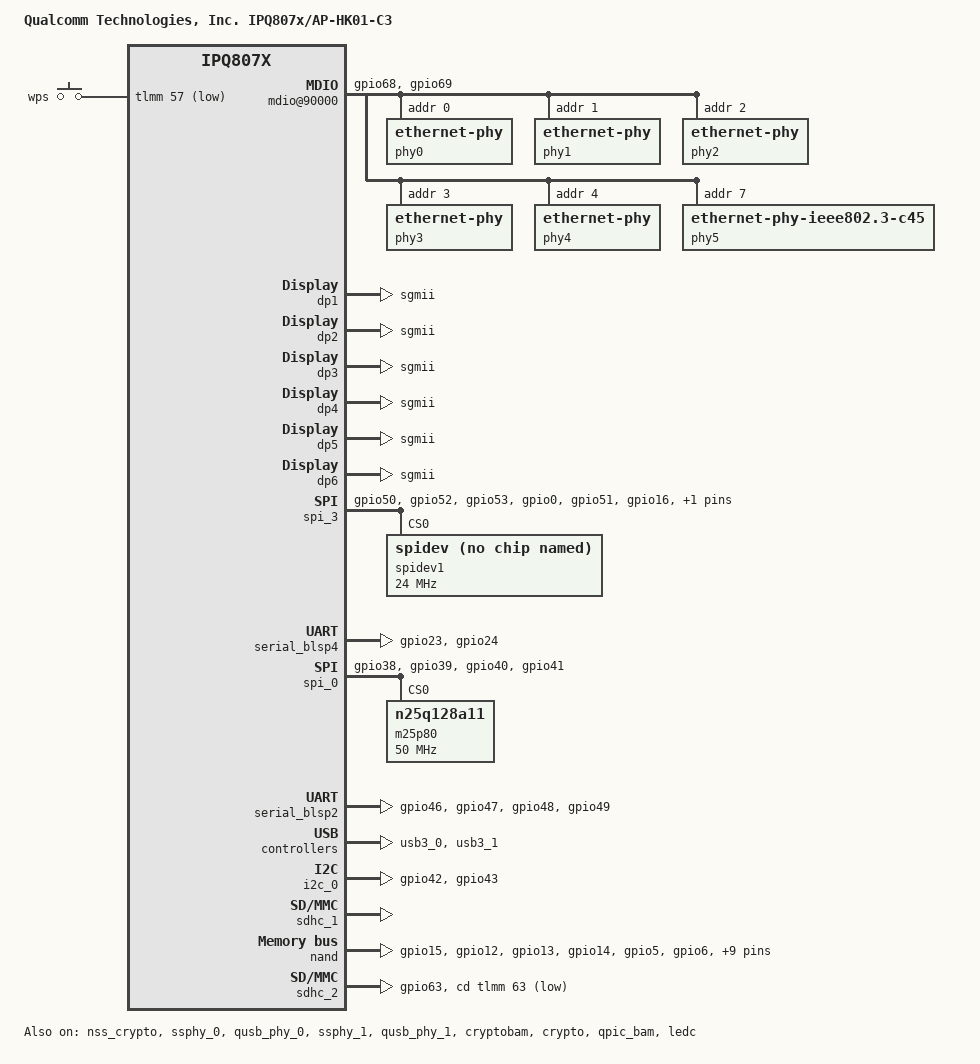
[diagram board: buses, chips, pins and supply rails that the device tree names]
/dts-v1/;
/*
 * Copyright (c) 2017-2018, The Linux Foundation. All rights reserved.
 *
 * Permission to use, copy, modify, and/or distribute this software for any
 * purpose with or without fee is hereby granted, provided that the above
 * copyright notice and this permission notice appear in all copies.
 *
 * THE SOFTWARE IS PROVIDED "AS IS" AND THE AUTHOR DISCLAIMS ALL WARRANTIES
 * WITH REGARD TO THIS SOFTWARE INCLUDING ALL IMPLIED WARRANTIES OF
 * MERCHANTABILITY AND FITNESS. IN NO EVENT SHALL THE AUTHOR BE LIABLE FOR
 * ANY SPECIAL, DIRECT, INDIRECT, OR CONSEQUENTIAL DAMAGES OR ANY DAMAGES
 * WHATSOEVER RESULTING FROM LOSS OF USE, DATA OR PROFITS, WHETHER IN AN
 * ACTION OF CONTRACT, NEGLIGENCE OR OTHER TORTIOUS ACTION, ARISING OUT OF
 * OR IN CONNECTION WITH THE USE OR PERFORMANCE OF THIS SOFTWARE.
 */
#include "qcom-ipq807x-soc.dtsi"
#include "qcom-ipq807x-audio.dtsi"
#include "qcom-ipq807x-hk-cpu.dtsi"

/ {
	#address-cells = <0x2>;
	#size-cells = <0x2>;
	model = "Qualcomm Technologies, Inc. IPQ807x/AP-HK01-C3";
	compatible = "qcom,ipq807x-hk01", "qcom,ipq807x";
	qcom,msm-id = <0x125 0x0>;
	interrupt-parent = <&intc>;
	qcom,board-id = <0x10 0x0>;

	aliases {
		sdhc1 = &sdhc_1; /* SDC1 eMMC slot */
		sdhc2 = &sdhc_2; /* SDC2 SD slot */
		/*
		 * Aliases as required by u-boot
		 * to patch MAC addresses
		 */
		ethernet0 = "/soc/dp1";
		ethernet1 = "/soc/dp2";
		ethernet2 = "/soc/dp3";
		ethernet3 = "/soc/dp4";
		ethernet4 = "/soc/dp5";
		ethernet5 = "/soc/dp6";
	};

	chosen {
		bootargs = "console=ttyMSM0,115200,n8 root=/dev/ram0 rw init=/init";
		bootargs-append = " swiotlb=1";
	};
};

&tlmm {
	pinctrl-0 = <&btcoex_pins>;
	pinctrl-names = "default";

	btcoex_pins: btcoex_pins {
		mux_0 {
			pins = "gpio64";
			function = "pta1_1";
			drive-strength = <6>;
			bias-pull-down;
		};
		mux_1 {
			pins = "gpio65";
			function = "pta1_2";
			drive-strength = <6>;
			bias-pull-down;
		};
		mux_2 {
			pins = "gpio66";
			function = "pta1_0";
			drive-strength = <6>;
			bias-pull-down;
		};
		mux_3 {
			pins = "gpio54";
			function = "pta2_0";
			drive-strength = <6>;
			bias-pull-down;
		};
		mux_4 {
			pins = "gpio55";
			function = "pta2_1";
			drive-strength = <6>;
			bias-pull-down;
		};
		mux_5 {
			pins = "gpio56";
			function = "pta2_2";
			drive-strength = <6>;
			bias-pull-down;
		};
	};

	mdio_pins: mdio_pinmux {
		mux_0 {
			pins = "gpio68";
			function = "mdc";
			drive-strength = <8>;
			bias-pull-up;
		};
		mux_1 {
			pins = "gpio69";
			function = "mdio";
			drive-strength = <8>;
			bias-pull-up;
		};
	};

	uart_pins: uart_pins {
		mux {
			pins = "gpio23", "gpio24";
			function = "blsp4_uart1";
			drive-strength = <8>;
			bias-disable;
		};
	};

	i2c_0_pins: i2c_0_pinmux {
		mux {
			pins = "gpio42", "gpio43";
			function = "blsp1_i2c";
			drive-strength = <8>;
			bias-disable;
		};
	};

	spi_0_pins: spi_0_pins {
		mux {
			pins = "gpio38", "gpio39", "gpio40", "gpio41";
			function = "blsp0_spi";
			drive-strength = <8>;
			bias-disable;
		};
	};

	spi_3_pins: spi_3_pinmux {
		mux {
			pins = "gpio50", "gpio52", "gpio53";
			function = "blsp3_spi";
			bias-disable;
		};
		host_int {
			pins = "gpio0";
			function = "gpio";
			input;
		};
		cs {
			pins = "gpio51";
			function = "gpio";
			bias-pull-up;
		};
		wake {
			pins = "gpio16";
			function = "gpio";
			output-high;
		};
		reset {
			pins = "gpio2";
			function = "gpio";
			output-high;
		};
	};

	qpic_pins: qpic_pins {
		data_0 {
			pins = "gpio15";
			function = "qpic_pad0";
			drive-strength = <8>;
			bias-disable;
		};
		data_1 {
			pins = "gpio12";
			function = "qpic_pad1";
			drive-strength = <8>;
			bias-disable;
		};
		data_2 {
			pins = "gpio13";
			function = "qpic_pad2";
			drive-strength = <8>;
			bias-disable;
		};
		data_3 {
			pins = "gpio14";
			function = "qpic_pad3";
			drive-strength = <8>;
			bias-disable;
		};
		data_4 {
			pins = "gpio5";
			function = "qpic_pad4";
			drive-strength = <8>;
			bias-disable;
		};
		data_5 {
			pins = "gpio6";
			function = "qpic_pad5";
			drive-strength = <8>;
			bias-disable;
		};
		data_6 {
			pins = "gpio7";
			function = "qpic_pad6";
			drive-strength = <8>;
			bias-disable;
		};
		data_7 {
			pins = "gpio8";
			function = "qpic_pad7";
			drive-strength = <8>;
			bias-disable;
		};
		qpic_pad {
			pins = "gpio1","gpio3", "gpio4",
				"gpio9", "gpio10", "gpio11", "gpio17";
			function = "qpic_pad";
			drive-strength = <8>;
			bias-disable;
		};
	};

	sd_pins: sd_pins {
		mux {
			pins = "gpio63";
			function = "sd_card";
			drive-strength = <8>;
			bias-pull-up;
		};
	};

	hsuart_pins: hsuart_pins {
		mux {
			pins = "gpio46", "gpio47", "gpio48", "gpio49";
			function = "blsp2_uart";
			drive-strength = <8>;
			bias-disable;
		};
	};

	ledc_pins: ledc_pinmux {
		led_clk {
			pins = "gpio18";
			function = "led0";
			drive-strength = <8>;
			bias-pull-down;
		};
		led_data {
			pins = "gpio19";
			function = "led1";
			drive-strength = <8>;
			bias-pull-down;
		};
		led_clr {
			pins = "gpio20";
			function = "led2";
			drive-strength = <8>;
			bias-pull-up;
		};
	};

	button_pins: button_pins {
		wps_button {
			pins = "gpio57";
			function = "gpio";
			drive-strength = <8>;
			bias-pull-up;
		};
	};

	uniphy_pins: uniphy_pinmux {
		mux {
			pins = "gpio60";
			function = "rx2";
			bias-disable;
		};

		sfp_tx {
			pins = "gpio59";
			function = "gpio";
			drive-strength = <8>;
			bias-pull-down;
			output-low;
		};
	};

	pwm_pins: pwm_pinmux {
		mux_1 {
			pins = "gpio25";
			function = "pwm02";
			drive-strength = <8>;
		};
	};
};

&soc {
	pwm {
		pinctrl-0 = <&pwm_pins>;
		pinctrl-names = "default";
		used-pwm-indices = <1>, <0>, <0>, <0>;
		status = "disabled";
	};

	gpio_keys {
		compatible = "gpio-keys";
		pinctrl-0 = <&button_pins>;
		pinctrl-names = "default";

		button@1 {
			label = "wps";
			linux,code = <KEY_WPS_BUTTON>;
			gpios = <&tlmm 57 GPIO_ACTIVE_LOW>;
			linux,input-type = <1>;
			debounce-interval = <60>;
		};
	};

	mdio@90000 {
		pinctrl-0 = <&mdio_pins>;
		pinctrl-names = "default";
		phy-reset-gpio = <&tlmm 37 0>;
		phy0: ethernet-phy@0 {
			reg = <0>;
		};
		phy1: ethernet-phy@1 {
			reg = <1>;
		};
		phy2: ethernet-phy@2 {
			reg = <2>;
		};
		phy3: ethernet-phy@3 {
			reg = <3>;
		};
		phy4: ethernet-phy@4 {
			reg = <4>;
		};
		phy5: ethernet-phy@5 {
			compatible ="ethernet-phy-ieee802.3-c45";
			reg = <7>;
		};
	};

	ess-switch@3a000000 {
		pinctrl-0 = <&uniphy_pins>;
		pinctrl-names = "default";
		switch_cpu_bmp = <0x1>;  /* cpu port bitmap */
		switch_lan_bmp = <0x3e>; /* lan port bitmap */
		switch_wan_bmp = <0x40>; /* wan port bitmap */
		switch_mac_mode = <0x0>; /* mac mode for uniphy instance0*/
		switch_mac_mode1 = <0xff>; /* mac mode for uniphy instance1*/
		switch_mac_mode2 = <0xd>; /* mac mode for uniphy instance2*/
		bm_tick_mode = <0>; /* bm tick mode */
		tm_tick_mode = <0>; /* tm tick mode */
		port_scheduler_resource {
			port@0 {
				port_id = <0>;
				ucast_queue = <0 143>;
				mcast_queue = <256 271>;
				l0sp = <0 35>;
				l0cdrr = <0 47>;
				l0edrr = <0 47>;
				l1cdrr = <0 7>;
				l1edrr = <0 7>;
			};
			port@1 {
				port_id = <1>;
				ucast_queue = <144 159>;
				mcast_queue = <272 275>;
				l0sp = <36 39>;
				l0cdrr = <48 63>;
				l0edrr = <48 63>;
				l1cdrr = <8 11>;
				l1edrr = <8 11>;
			};
			port@2 {
				port_id = <2>;
				ucast_queue = <160 175>;
				mcast_queue = <276 279>;
				l0sp = <40 43>;
				l0cdrr = <64 79>;
				l0edrr = <64 79>;
				l1cdrr = <12 15>;
				l1edrr = <12 15>;
			};
			port@3 {
				port_id = <3>;
				ucast_queue = <176 191>;
				mcast_queue = <280 283>;
				l0sp = <44 47>;
				l0cdrr = <80 95>;
				l0edrr = <80 95>;
				l1cdrr = <16 19>;
				l1edrr = <16 19>;
			};
			port@4 {
				port_id = <4>;
				ucast_queue = <192 207>;
				mcast_queue = <284 287>;
				l0sp = <48 51>;
				l0cdrr = <96 111>;
				l0edrr = <96 111>;
				l1cdrr = <20 23>;
				l1edrr = <20 23>;
			};
			port@5 {
				port_id = <5>;
				ucast_queue = <208 223>;
				mcast_queue = <288 291>;
				l0sp = <52 55>;
				l0cdrr = <112 127>;
				l0edrr = <112 127>;
				l1cdrr = <24 27>;
				l1edrr = <24 27>;
			};
			port@6 {
				port_id = <6>;
				ucast_queue = <224 239>;
				mcast_queue = <292 295>;
				l0sp = <56 59>;
				l0cdrr = <128 143>;
				l0edrr = <128 143>;
				l1cdrr = <28 31>;
				l1edrr = <28 31>;
			};
			port@7 {
				port_id = <7>;
				ucast_queue = <240 255>;
				mcast_queue = <296 299>;
				l0sp = <60 63>;
				l0cdrr = <144 159>;
				l0edrr = <144 159>;
				l1cdrr = <32 35>;
				l1edrr = <32 35>;
			};
		};
		port_scheduler_config {
			port@0 {
				port_id = <0>;
				l1scheduler {
					group@0 {
						sp = <0 1>; /*L0 SPs*/
						/*cpri cdrr epri edrr*/
						cfg = <0 0 0 0>;
					};
				};
				l0scheduler {
					group@0 {
						/*unicast queues*/
						ucast_queue = <0 4 8>;
						/*multicast queues*/
						mcast_queue = <256 260>;
						/*sp cpri cdrr epri edrr*/
						cfg = <0 0 0 0 0>;
					};
					group@1 {
						ucast_queue = <1 5 9>;
						mcast_queue = <257 261>;
						cfg = <0 1 1 1 1>;
					};
					group@2 {
						ucast_queue = <2 6 10>;
						mcast_queue = <258 262>;
						cfg = <0 2 2 2 2>;
					};
					group@3 {
						ucast_queue = <3 7 11>;
						mcast_queue = <259 263>;
						cfg = <0 3 3 3 3>;
					};
				};
			};
			port@1 {
				port_id = <1>;
				l1scheduler {
					group@0 {
						sp = <36>;
						cfg = <0 8 0 8>;
					};
					group@1 {
						sp = <37>;
						cfg = <1 9 1 9>;
					};
				};
				l0scheduler {
					group@0 {
						ucast_queue = <144>;
						ucast_loop_pri = <16>;
						mcast_queue = <272>;
						mcast_loop_pri = <4>;
						cfg = <36 0 48 0 48>;
					};
				};
			};
			port@2 {
				port_id = <2>;
				l1scheduler {
					group@0 {
						sp = <40>;
						cfg = <0 12 0 12>;
					};
					group@1 {
						sp = <41>;
						cfg = <1 13 1 13>;
					};
				};
				l0scheduler {
					group@0 {
						ucast_queue = <160>;
						ucast_loop_pri = <16>;
						mcast_queue = <276>;
						mcast_loop_pri = <4>;
						cfg = <40 0 64 0 64>;
					};
				};
			};
			port@3 {
				port_id = <3>;
				l1scheduler {
					group@0 {
						sp = <44>;
						cfg = <0 16 0 16>;
					};
					group@1 {
						sp = <45>;
						cfg = <1 17 1 17>;
					};
				};
				l0scheduler {
					group@0 {
						ucast_queue = <176>;
						ucast_loop_pri = <16>;
						mcast_queue = <280>;
						mcast_loop_pri = <4>;
						cfg = <44 0 80 0 80>;
					};
				};
			};
			port@4 {
				port_id = <4>;
				l1scheduler {
					group@0 {
						sp = <48>;
						cfg = <0 20 0 20>;
					};
					group@1 {
						sp = <49>;
						cfg = <1 21 1 21>;
					};
				};
				l0scheduler {
					group@0 {
						ucast_queue = <192>;
						ucast_loop_pri = <16>;
						mcast_queue = <284>;
						mcast_loop_pri = <4>;
						cfg = <48 0 96 0 96>;
					};
				};
			};
			port@5 {
				port_id = <5>;
				l1scheduler {
					group@0 {
						sp = <52>;
						cfg = <0 24 0 24>;
					};
					group@1 {
						sp = <53>;
						cfg = <1 25 1 25>;
					};
				};
				l0scheduler {
					group@0 {
						ucast_queue = <208>;
						ucast_loop_pri = <16>;
						mcast_queue = <288>;
						mcast_loop_pri = <4>;
						cfg = <52 0 112 0 112>;
					};
				};
			};
			port@6 {
				port_id = <6>;
				l1scheduler {
					group@0 {
						sp = <56>;
						cfg = <0 28 0 28>;
					};
					group@1 {
						sp = <57>;
						cfg = <1 29 1 29>;
					};
				};
				l0scheduler {
					group@0 {
						ucast_queue = <224>;
						ucast_loop_pri = <16>;
						mcast_queue = <292>;
						mcast_loop_pri = <4>;
						cfg = <56 0 128 0 128>;
					};
				};
			};
			port@7 {
				port_id = <7>;
				l1scheduler {
					group@0 {
						sp = <60>;
						cfg = <0 32 0 32>;
					};
				};
				l0scheduler {
					group@0 {
						ucast_queue = <240>;
						mcast_queue = <296>;
						cfg = <60 0 144 0 144>;
					};
				};
			};
		};
	};

	dp1 {
		device_type = "network";
		compatible = "qcom,nss-dp";
		qcom,id = <1>;
		reg = <0x3a001000 0x200>;
		qcom,mactype = <0>;
		local-mac-address = [000000000000];
		qcom,link-poll = <1>;
		qcom,phy-mdio-addr = <0>;
		phy-mode = "sgmii";
	};

	dp2 {
		device_type = "network";
		compatible = "qcom,nss-dp";
		qcom,id = <2>;
		reg = <0x3a001200 0x200>;
		qcom,mactype = <0>;
		local-mac-address = [000000000000];
		qcom,link-poll = <1>;
		qcom,phy-mdio-addr = <1>;
		phy-mode = "sgmii";
	};

	dp3 {
		device_type = "network";
		compatible = "qcom,nss-dp";
		qcom,id = <3>;
		reg = <0x3a001400 0x200>;
		qcom,mactype = <0>;
		local-mac-address = [000000000000];
		qcom,link-poll = <1>;
		qcom,phy-mdio-addr = <2>;
		phy-mode = "sgmii";
	};

	dp4 {
		device_type = "network";
		compatible = "qcom,nss-dp";
		qcom,id = <4>;
		reg = <0x3a001600 0x200>;
		qcom,mactype = <0>;
		local-mac-address = [000000000000];
		qcom,link-poll = <1>;
		qcom,phy-mdio-addr = <3>;
		phy-mode = "sgmii";
	};

	dp5 {
		device_type = "network";
		compatible = "qcom,nss-dp";
		qcom,id = <5>;
		reg = <0x3a001800 0x200>;
		qcom,mactype = <0>;
		local-mac-address = [000000000000];
		qcom,link-poll = <1>;
		qcom,phy-mdio-addr = <4>;
		phy-mode = "sgmii";
	};

	dp6 {
		device_type = "network";
		compatible = "qcom,nss-dp";
		qcom,id = <6>;
		reg = <0x3a007000 0x3fff>;
		qcom,mactype = <1>;
		local-mac-address = [000000000000];
		qcom,link-poll = <1>;
		qcom,phy-mdio-addr = <7>;
		phy-mode = "sgmii";
	};

	spi_3: spi@78b8000 { /* BLSP1 QUP3 */
		compatible = "qcom,spi-qup-v2.2.1";
		#address-cells = <1>;
		#size-cells = <0>;
		reg = <0x78b8000 0x600>;
		interrupts = <0 98 0>;
		spi-max-frequency = <24000000>;
		clocks = <&gcc GCC_BLSP1_QUP4_SPI_APPS_CLK>,
			<&gcc GCC_BLSP1_AHB_CLK>;
		clock-names = "core", "iface";
		dmas = <&blsp_dma 18>, <&blsp_dma 19>;
		dma-names = "tx", "rx";
		status = "disabled";
	};

};

&serial_blsp4 {
	pinctrl-0 = <&uart_pins>;
	pinctrl-names = "default";
	status = "ok";
};

&spi_0 { /* BLSP1 QUP1 */
	pinctrl-0 = <&spi_0_pins>;
	pinctrl-names = "default";
	status = "ok";

	m25p80@0 {
		#address-cells = <1>;
		#size-cells = <1>;
		reg = <0>;
		compatible = "n25q128a11";
		linux,modalias = "m25p80", "n25q128a11";
		spi-max-frequency = <50000000>;
		use-default-sizes;
	};
};


&spi_3 { /* BLSP1 QUP1 */
	pinctrl-0 = <&spi_3_pins>;
	pinctrl-names = "default";
	status = "ok";

	spidev1: spi@1 {
				compatible = "qca,spidev";
				reg = <0>;
				spi-max-frequency = <24000000>;
	};
};

&serial_blsp2 {
	pinctrl-0 = <&hsuart_pins>;
	pinctrl-names = "default";
	status = "ok";
};

&nss_crypto {
	status = "ok";
};

&msm_imem {
	status = "disabled";
};

&ssphy_0 {
	qcom,emulation = <1>;
	status = "ok";
};

&qusb_phy_0 {
	qcom,emulation = <1>;
	status = "ok";
};

&ssphy_1 {
	qcom,emulation = <1>;
	status = "ok";
};

&qusb_phy_1 {
	qcom,emulation = <1>;
	status = "ok";
};

&usb3_0 {
	status = "ok";
};

&usb3_1 {
	status = "ok";
};

&cryptobam {
	status = "ok";
};

&crypto {
	status = "ok";
};

&i2c_0 {
	pinctrl-0 = <&i2c_0_pins>;
	pinctrl-names = "default";
	status = "ok";
};

&i2c_1 {
	status = "disabled";
};

&sdhc_1 {
	qcom,clk-rates = <400000 25000000 50000000 100000000 \
			 192000000 384000000>;
	qcom,bus-speed-mode = "HS400_1p8v", "HS200_1p8v", "DDR_1p8v";
	qcom,nonremovable;
	status = "ok";
};

&qpic_bam {
	status = "ok";
};

&nand {
	pinctrl-0 = <&qpic_pins>;
	pinctrl-names = "default";
	status = "ok";
};

&sdhc_2 {
	qcom,clk-rates = <400000 25000000 50000000 100000000 \
			 192000000>;
	qcom,bus-speed-mode = "HS200_1p8v", "DDR_1p8v";
	pinctrl-0 = <&sd_pins>;
	pinctrl-names = "default";
	cd-gpios = <&tlmm 63 1>;
	sd-ldo-gpios = <&tlmm 21 0>;
	vqmmc-supply = <&ldo11>;
	status = "ok";
};

&qpic_lcd {
	status = "disabled";
};

&qpic_lcd_panel {
	status = "disabled";
};

&ledc {
	pinctrl-0 = <&ledc_pins>;
	pinctrl-names = "default";
	status = "ok";
	led0 {
		label = "ipq::led0";
		linux,default-trigger = "led_wifi_son_green";
	};
	led1 {
		label = "ipq::led1";
		linux,default-trigger = "led_wifi_son_orange";
	};
	led2 {
		label = "ipq::led2";
		linux,default-trigger = "led_wifi_son_blue";
	};
	led3 {
		label = "ipq::led3";
		linux,default-trigger = "led_2g";
	};
	led4 {
		label = "ipq::led4";
		linux,default-trigger = "led_5gl";
	};
	led5 {
		label = "ipq::led5";
		linux,default-trigger = "led_5gh";
	};
	led6 {
		label = "ipq::led6";
		linux,default-trigger = "led_lan";
	};
	led7 {
		label = "ipq::led7";
		linux,default-trigger = "led_wan";
	};
	led8 {
		label = "ipq::led8";
		linux,default-trigger = "led_10g_link";
	};
	led9 {
		label = "ipq::led9";
		linux,default-trigger = "led_sfp";
	};
	led10 {
		label = "ipq::led10";
		linux,default-trigger = "led_bt";
	};
	led11 {
		label = "ipq::led11";
		linux,default-trigger = "none";
	};
	led12 {
		label = "ipq::led12";
		linux,default-trigger = "none";
	};
};
